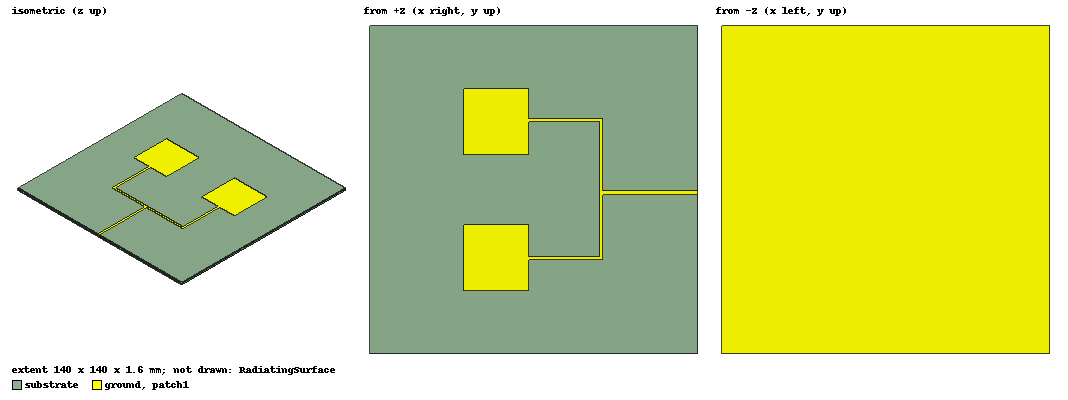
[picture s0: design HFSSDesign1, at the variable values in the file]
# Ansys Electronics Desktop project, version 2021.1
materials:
  vacuum: permittivity=1
  FR4_epoxy: permittivity=4.4 dielectric_loss_tangent=0.02

design HFSSDesign1 (HFSS, DrivenModal, model units mm)
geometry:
  ground = rectangle(corner=(0mm, 0mm, 0mm), x_size=140mm, y_size=140mm)
  patch1 = rectangle(corner=(40mm, 27mm, 1.6mm), x_size=28mm, y_size=28mm)
  patch2 = rectangle(corner=(40mm, 85mm, 1.6mm), x_size=28mm, y_size=28mm)
  line2 = rectangle(corner=(68mm, 99mm, 1.6mm), x_size=30mm, y_size=1.5mm)
  line1 = rectangle(corner=(68mm, 40mm, 1.6mm), x_size=30mm, y_size=1.5mm)
  joint = rectangle(corner=(98mm, 40mm, 1.6mm), x_size=1.5mm, y_size=60.5mm)
  feed = rectangle(corner=(98mm, 68mm, 1.6mm), x_size=42mm, y_size=1.5mm)
  port = rectangle(corner=(140mm, 68mm, 1.6mm), y_size=1.5mm, z_size=-1.6mm)
  patch1.unite(patch2, line1, joint, feed)
  patch1.unite(line2)
  RadiatingSurface [vacuum] = region(absolute_offset=41.666667mm on all sides)
  substrate [FR4_epoxy] = box(corner=(0mm, 0mm, 0mm), size=(140mm, 140mm, 1.6mm))
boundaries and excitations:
  Open1: Radiation Objects=RadiatingSurface
  PerfE1: Perfect E Objects=patch1
  PerfE2: Perfect E Objects=ground
  1: Lumped Port Objects=port Modes{Mode1{IntLine{middle of port.edge(z opposite corner) -> middle of port.edge(z at corner)} CharImp=Zpi RenormImp=50ohm}} Impedance=50ohm
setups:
  Setup1: HfssDrivenAuto AutoSolverSetting=Balanced Type=Interpolating
    sweep Sweep: 1GHz to 5GHz, 501 points;
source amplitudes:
  1:1: 1W 0deg
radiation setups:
  3D: Infinite Sphere Theta=0deg..180deg step 2deg Phi=-180deg..180deg step 2deg
  Elevation: Infinite Sphere Theta=-180deg..180deg step 1deg Phi=0deg..90deg step 90deg
  Azimuth: Infinite Sphere Theta=90deg..90deg step 0deg Phi=-180deg..180deg step 1deg
  Infinite Sphere1: Infinite Sphere Theta=-180deg..180deg step 10deg Phi=0deg..360deg step 10deg
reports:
  S Parameter Plot 1: dB(S(1,1)) vs Freq on Setup1 : Sweep; markers m1 at 2.504GHz
  Realized Gain Plot 1: RealizedGainTotal vs Phi, Theta on Setup1 : LastAdaptive, 3D [Freq=3GHz]
  Gain Plot 1: GainTotal vs Phi, Theta on Setup1 : LastAdaptive, 3D [Freq=3GHz]
  VSWR Plot 1: VSWR(1) vs Freq on Setup1 : Sweep; markers m1 at 2.504GHz
  Gain Plot 2: GainTotal vs Theta on Setup1 : LastAdaptive, 3D [Phi=all Freq=3GHz]
